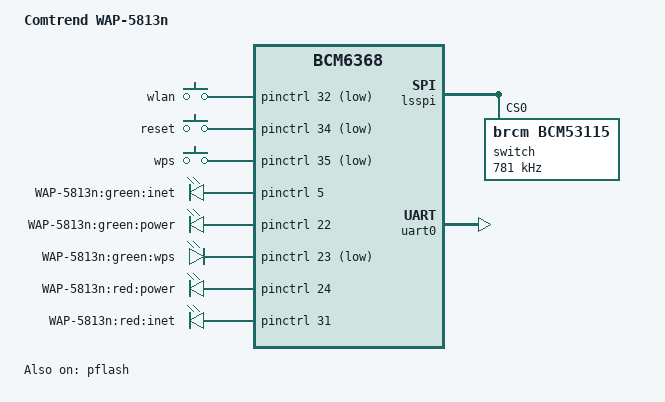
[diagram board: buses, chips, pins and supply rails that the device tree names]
/dts-v1/;

#include "bcm6368.dtsi"

#include <dt-bindings/input/input.h>

/ {
	model = "Comtrend WAP-5813n";
	compatible = "comtrend,wap-5813n", "brcm,bcm6369", "brcm,bcm6368";

	aliases {
		led-boot = &led_power_green;
		led-failsafe = &led_power_green;
		led-running = &led_power_green;
		led-upgrade = &led_power_green;
	};

	chosen {
		bootargs = "rootfstype=squashfs,jffs2 noinitrd console=ttyS0,115200";
		stdout-path = "serial0:115200n8";
	};

	keys {
		compatible = "gpio-keys-polled";
		#address-cells = <1>;
		#size-cells = <0>;
		poll-interval = <20>;

		wlan {
			label = "wlan";
			gpios = <&pinctrl 32 1>;
			linux,code = <KEY_WLAN>;
			debounce-interval = <60>;
		};

		reset {
			label = "reset";
			gpios = <&pinctrl 34 1>;
			linux,code = <KEY_RESTART>;
			debounce-interval = <60>;
		};

		wps {
			label = "wps";
			gpios = <&pinctrl 35 1>;
			linux,code = <KEY_WPS_BUTTON>;
			debounce-interval = <60>;
		};
	};

	leds {
		compatible = "gpio-leds";

		inet_green {
			label = "WAP-5813n:green:inet";
			gpios = <&pinctrl 5 0>;
		};
		led_power_green: power_green {
			label = "WAP-5813n:green:power";
			gpios = <&pinctrl 22 0>;
			default-state = "on";
		};
		wps_green {
			label = "WAP-5813n:green:wps";
			gpios = <&pinctrl 23 1>;
		};
		power_red {
			label = "WAP-5813n:red:power";
			gpios = <&pinctrl 24 0>;
		};
		inet_red {
			label = "WAP-5813n:red:inet";
			gpios = <&pinctrl 31 0>;
		};
	};
};

&pflash {
	status = "okay";

	partitions {
		compatible = "fixed-partitions";
		#address-cells = <1>;
		#size-cells = <1>;

		cfe@0 {
			label = "CFE";
			reg = <0x000000 0x010000>;
			read-only;
		};

		linux@10000 {
			label = "linux";
			reg = <0x010000 0x7e0000>;
			compatible = "brcm,bcm963xx-imagetag";
		};

		nvram@7f0000 {
			label = "nvram";
			reg = <0x7f0000 0x010000>;
		};
	};
};

&lsspi {
	switch@0 {
		compatible = "brcm,bcm53115";
		reg = <0>;
		spi-max-frequency = <781000>;

		lede,alias = "eth0";

		ports {
			#address-cells = <1>;
			#size-cells = <0>;

			lan@0 {
				reg = <0>;
				label = "lan4";
			};

			lan@1 {
				reg = <1>;
				label = "lan3";
			};

			lan@2 {
				reg = <2>;
				label = "lan2";
			};

			lan@3 {
				reg = <3>;
				label = "lan1";
			};

			wan@4 {
				reg = <4>;
				label = "wan";
			};

			cpu@5 {
				reg = <5>;
				label = "cpu";

				fixed-link {
					speed = <1000>;
					full-duplex;
					asym-pause;
					pause;
				};
			};
		};
	};
};

&pinctrl {
	pinctrl-names = "default";
	pinctrl-0 = <&pinctrl_pci>;
};

&uart0 {
	status = "okay";
};
